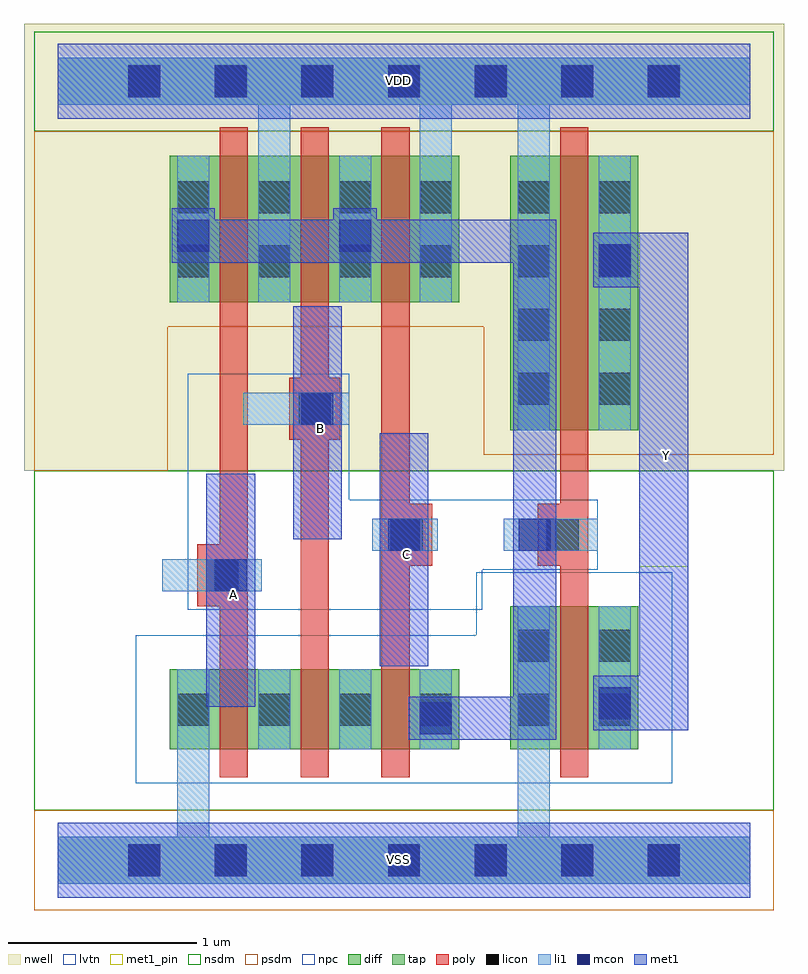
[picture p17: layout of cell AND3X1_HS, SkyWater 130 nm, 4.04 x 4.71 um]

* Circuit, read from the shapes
.subckt AND3X1_HS A B C VDD VSS Y
XM1 n1 A VSS VSS sky130_fd_pr__nfet_01v8_lvt w=0.425 l=0.15
XM2 n2 B n1 VSS sky130_fd_pr__nfet_01v8_lvt w=0.425 l=0.15
XM3 n3 C n2 VSS sky130_fd_pr__nfet_01v8_lvt w=0.425 l=0.15
XM4 Y n3 VSS VSS sky130_fd_pr__nfet_01v8_lvt w=0.76 l=0.15
XM5 VDD A n3 VDD sky130_fd_pr__pfet_01v8 w=0.78 l=0.15
XM6 n3 B VDD VDD sky130_fd_pr__pfet_01v8 w=0.78 l=0.15
XM7 VDD C n3 VDD sky130_fd_pr__pfet_01v8 w=0.78 l=0.15
XM8 Y n3 VDD VDD sky130_fd_pr__pfet_01v8 w=1.46 l=0.15
.ends

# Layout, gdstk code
from math import pi, radians
import gdstk
lib = gdstk.Library(unit=1e-6, precision=1e-09)
def R(c, l, rs):  # rectangles x0, y0, x1, y1
    for r in rs: c.add(gdstk.rectangle(r[:2], r[2:], *l))
def A(c, l, x, y, w, h, nx, ny, dx, dy):  # array of equal rectangles
    R(c, l, [(x+i*dx, y+j*dy, x+i*dx+w, y+j*dy+h) for i in range(nx) for j in range(ny)])
def P(c, l, *ps):  # polygons
    for p in ps: c.add(gdstk.Polygon(p, *l))
nwell = (64, 20)
diff = (65, 20)
tap = (65, 44)
poly = (66, 20)
licon = (66, 44)
li1 = (67, 20)
mcon = (67, 44)
met1_pin = (68, 16)
met1 = (68, 20)
nsdm = (93, 44)
psdm = (94, 20)
npc = (95, 20)
lvtn = (125, 44)

l1m1_c_cdns_752016586812 = lib.new_cell('L1M1_C_CDNS_752016586812')
R(l1m1_c_cdns_752016586812, li1, [(-0.085,-0.165,0.085,0.165)])
R(l1m1_c_cdns_752016586812, mcon, [(-0.085,-0.085,0.085,0.085)])
R(l1m1_c_cdns_752016586812, met1, [(-0.115,-0.145,0.115,0.145)])

pyl1con_c_cdns_752016586 = lib.new_cell('PYL1CON_C_CDNS_752016586813')
R(pyl1con_c_cdns_752016586, poly, [(-0.135,-0.165,0.135,0.165)])
R(pyl1con_c_cdns_752016586, licon, [(-0.085,-0.085,0.085,0.085)])
R(pyl1con_c_cdns_752016586, npc, [(-0.185,-0.185,0.185,0.185)])

l1m1_c_cdns_752016586811 = lib.new_cell('L1M1_C_CDNS_752016586811')
R(l1m1_c_cdns_752016586811, li1, [(-0.165,-0.085,0.165,0.085)])
R(l1m1_c_cdns_752016586811, mcon, [(-0.085,-0.085,0.085,0.085)])
R(l1m1_c_cdns_752016586811, met1, [(-0.115,-0.145,0.115,0.145)])

and3x1_hs = lib.new_cell('AND3X1_HS')
R(and3x1_hs, nwell, [(-0.18,2.07,3.86,4.445)])
R(and3x1_hs, diff, [(0.595,0.59,2.135,1.015), (2.405,0.59,3.085,1.35), (2.405,2.285,3.085,3.745), (0.595,2.965,2.135,3.745)])
A(and3x1_hs, poly, 0.86, 0.44, 0.15, 3.455, 3, 1, 0.43, 0)
R(and3x1_hs, poly, [(2.67,0.44,2.82,3.895)])
A(and3x1_hs, licon, 0.375, -0.085, 0.17, 0.17, 7, 2, 0.46, 4.14)
A(and3x1_hs, licon, 0.635, 0.715, 0.17, 0.17, 4, 2, 0.43, 2.385)
A(and3x1_hs, licon, 2.445, 2.42, 0.17, 0.17, 1, 4, 0, 0.34)
A(and3x1_hs, licon, 2.875, 2.42, 0.17, 0.17, 1, 4, 0, 0.34)
A(and3x1_hs, licon, 0.635, 3.44, 0.17, 0.17, 4, 1, 0.43, 0)
R(and3x1_hs, licon, [(2.445,0.715,2.615,0.885), (2.875,0.715,3.045,0.885), (2.445,1.055,2.615,1.225), (2.875,1.055,3.045,1.225)])
A(and3x1_hs, li1, 1.065, 0.59, 0.17, 0.425, 3, 1, 0.43, 0)
R(and3x1_hs, li1, [(2.875,0.59,3.045,1.35), (2.875,2.285,3.045,3.745), (0.635,2.965,0.805,3.745), (1.495,2.965,1.665,3.745)])
P(and3x1_hs, li1, [(3.68,4.265),(0,4.265),(0,4.015),(1.065,4.015),(1.065,2.965),(1.235,2.965),(1.235,4.015),(1.925,4.015),(1.925,2.965),(2.095,2.965),(2.095,4.015),(2.445,4.015),(2.445,2.285),(2.615,2.285),(2.615,4.015),(3.68,4.015)],
  [(3.68,0.125),(2.615,0.125),(2.615,1.35),(2.445,1.35),(2.445,0.125),(0.805,0.125),(0.805,1.015),(0.635,1.015),(0.635,0.125),(0,0.125),(0,-0.125),(3.68,-0.125)])
A(and3x1_hs, mcon, 0.375, -0.085, 0.17, 0.17, 7, 2, 0.46, 4.14)
R(and3x1_hs, met1_pin, [(0.79,0.815,1.05,2.055), (1.71,1.03,1.97,2.27), (3.09,1.56,3.35,3.335), (1.25,1.705,1.51,2.945)])
P(and3x1_hs, met1, [(2.65,3.405),(0.605,3.405),(0.605,3.175),(2.42,3.175),(2.42,0.87),(1.945,0.87),(1.945,0.64),(2.65,0.64)],
  [(3.35,3.335),(2.96,3.335),(2.96,3.23),(2.93,3.23),(2.93,3.045),(3.09,3.045),(3.09,0.98),(2.96,0.98),(2.96,0.865),(2.93,0.865),(2.93,0.69),(3.35,0.69)])
R(and3x1_hs, nsdm, [(-0.125,0.265,3.805,2.07), (-0.125,3.875,3.805,4.405)])
R(and3x1_hs, psdm, [(-0.125,-0.265,3.805,0.265)])
P(and3x1_hs, psdm, [(3.805,3.875),(-0.125,3.875),(-0.125,2.07),(0.585,2.07),(0.585,2.835),(2.265,2.835),(2.265,2.155),(3.805,2.155)])
P(and3x1_hs, npc, [(2.87,1.915),(1.55,1.915),(1.55,2.585),(0.69,2.585),(0.69,1.33),(2.255,1.33),(2.255,1.545),(2.87,1.545)])
P(and3x1_hs, lvtn, [(3.265,1.53),(2.225,1.53),(2.225,1.195),(0.415,1.195),(0.415,0.41),(3.265,0.41)])
and3x1_hs.add(gdstk.FlexPath([(2.02,1.73),(1.67,1.73)], 0.17, ends="flush", simple_path=True, layer=67, datatype=20))  # li1
and3x1_hs.add(gdstk.FlexPath([(1.55,2.4),(0.985,2.4)], 0.17, ends="flush", simple_path=True, layer=67, datatype=20))  # li1
and3x1_hs.add(gdstk.FlexPath([(0.555,1.515),(1.06,1.515)], 0.17, ends="flush", simple_path=True, layer=67, datatype=20))  # li1
and3x1_hs.add(gdstk.FlexPath([(2.535,1.73),(2.87,1.73)], 0.17, ends="flush", simple_path=True, layer=67, datatype=20))  # li1
and3x1_hs.add(gdstk.FlexPath([(0,4.14),(3.68,4.14)], 0.4, ends="flush", simple_path=True, layer=68, datatype=20))  # met1
and3x1_hs.add(gdstk.FlexPath([(0,0),(3.68,0)], 0.4, ends="flush", simple_path=True, layer=68, datatype=20))  # met1
and3x1_hs.add(gdstk.FlexPath([(1.38,1.705),(1.38,2.945)], 0.26, ends="flush", simple_path=True, layer=68, datatype=20))  # met1
and3x1_hs.add(gdstk.FlexPath([(1.84,1.03),(1.84,2.27)], 0.26, ends="flush", simple_path=True, layer=68, datatype=20))  # met1
and3x1_hs.add(gdstk.FlexPath([(0.92,0.815),(0.92,2.055)], 0.26, ends="flush", simple_path=True, layer=68, datatype=20))  # met1
and3x1_hs.add(gdstk.FlexPath([(0,0),(3.68,0)], 0.4, ends="flush", simple_path=True, layer=68, datatype=16))  # met1_pin
and3x1_hs.add(gdstk.FlexPath([(0,4.14),(3.68,4.14)], 0.4, ends="flush", simple_path=True, layer=68, datatype=16))  # met1_pin
and3x1_hs.add(gdstk.FlexPath([(0,4.14),(3.68,4.14)], 0.25, ends="flush", simple_path=True, layer=65, datatype=44))  # tap
and3x1_hs.add(gdstk.FlexPath([(0,0),(3.68,0)], 0.25, ends="flush", simple_path=True, layer=65, datatype=44))  # tap
and3x1_hs.add(gdstk.Reference(l1m1_c_cdns_752016586812, (2.96,0.835)))
and3x1_hs.add(gdstk.Reference(l1m1_c_cdns_752016586812, (2.96,3.19)))
and3x1_hs.add(gdstk.Reference(l1m1_c_cdns_752016586812, (0.72,3.32)))
and3x1_hs.add(gdstk.Reference(l1m1_c_cdns_752016586812, (1.58,3.32)))
and3x1_hs.add(gdstk.Reference(pyl1con_c_cdns_752016586, (1.365,2.4)))
and3x1_hs.add(gdstk.Reference(pyl1con_c_cdns_752016586, (1.855,1.73)))
and3x1_hs.add(gdstk.Reference(pyl1con_c_cdns_752016586, (0.875,1.515)))
and3x1_hs.add(gdstk.Reference(pyl1con_c_cdns_752016586, (2.685,1.73)))
and3x1_hs.add(gdstk.Reference(l1m1_c_cdns_752016586811, (0.92,1.515), x_reflection=True))
and3x1_hs.add(gdstk.Reference(l1m1_c_cdns_752016586811, (1.84,1.73), x_reflection=True))
and3x1_hs.add(gdstk.Reference(l1m1_c_cdns_752016586811, (1.38,2.4), x_reflection=True))
and3x1_hs.add(gdstk.Reference(l1m1_c_cdns_752016586811, (2.535,1.73)))
and3x1_hs.add(gdstk.Reference(l1m1_c_cdns_752016586811, (2.01,0.755), rotation=3*pi/2))
and3x1_hs.add(gdstk.Label('VDD', (1.811,4.145), layer=68, texttype=5))
and3x1_hs.add(gdstk.Label('B', (1.395,2.295), layer=68, texttype=5))
and3x1_hs.add(gdstk.Label('C', (1.855,1.625), layer=68, texttype=5))
and3x1_hs.add(gdstk.Label('A', (0.935,1.41), layer=68, texttype=5))
and3x1_hs.add(gdstk.Label('Y', (3.235,2.15), layer=68, texttype=5))
and3x1_hs.add(gdstk.Label('VSS', (1.81,0.005), layer=68, texttype=5))

lib.write_gds('AND3X1_HS.gds')
